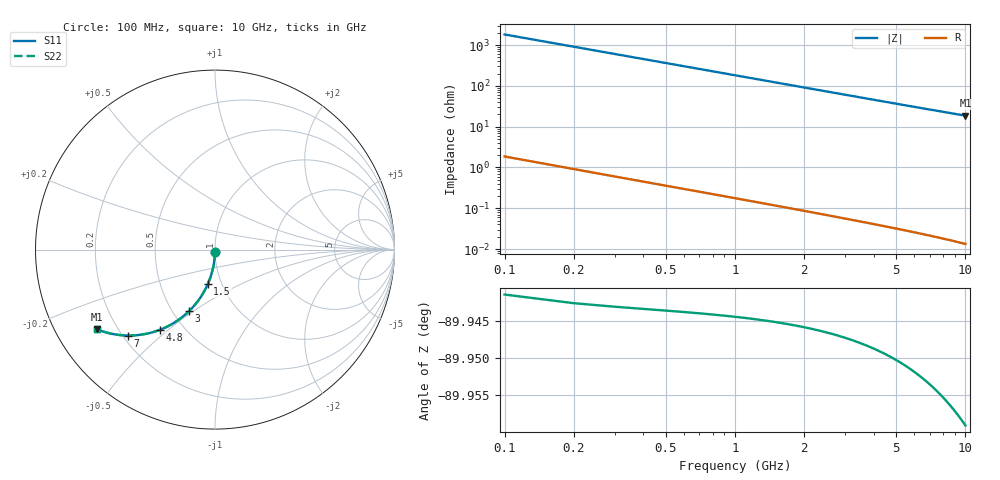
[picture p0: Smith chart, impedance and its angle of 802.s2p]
# Hz S RI R 50.00
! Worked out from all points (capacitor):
!   100 points, 100 MHz to 10 GHz, reference 50 ohm
!   read as one part in shunt: C = 874 fF near 100 MHz
!   lowest |Z| = 18.7 ohm at 10 GHz (marker M1)
!   S11 on the Smith chart (normalised r, x): 100 MHz: 1.00, -0.03; 1.5 GHz: 0.86, -0.34; 3 GHz: 0.60, -0.48; 4.8 GHz: 0.37, -0.47; 7 GHz: 0.22, -0.39; 10 GHz: 0.13, -0.30
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1e8  2.01e-05 -0.0134  0.9996 -0.014  0.9996 -0.014  2.01e-05 -0.0134
2e8  -0.000557 -0.0269  0.999 -0.028  0.999 -0.028  -0.000557 -0.0269
3e8  -0.00151 -0.0403  0.998 -0.042  0.998 -0.042  -0.00151 -0.0403
4e8  -0.00284 -0.0536  0.9967 -0.0559  0.9967 -0.0559  -0.00284 -0.0536
5e8  -0.00453 -0.0669  0.995 -0.0698  0.995 -0.0698  -0.00453 -0.0669
6e8  -0.00659 -0.0801  0.9929 -0.0836  0.9929 -0.0836  -0.00659 -0.0801
7e8  -0.00902 -0.0932  0.9905 -0.0973  0.9905 -0.0973  -0.00902 -0.0932
9e8  -0.0149 -0.1191  0.9846 -0.1243  0.9846 -0.1243  -0.0149 -0.1191
1.2e9  -0.0264 -0.1569  0.9732 -0.1639  0.9732 -0.1639  -0.0264 -0.1569
1.5e9  -0.0407 -0.1932  0.9588 -0.202  0.9588 -0.202  -0.0407 -0.1932
1.8e9  -0.0576 -0.2277  0.9419 -0.2382  0.9419 -0.2382  -0.0576 -0.2277
2.4e9  -0.0981 -0.2904  0.9013 -0.3043  0.9013 -0.3043  -0.0981 -0.2904
3e9  -0.1454 -0.3436  0.854 -0.3611  0.854 -0.3611  -0.1454 -0.3436
3.4e9  -0.1795 -0.3736  0.8199 -0.3934  0.8199 -0.3934  -0.1795 -0.3736
4.1e9  -0.2416 -0.4158  0.7577 -0.4397  0.7577 -0.4397  -0.2416 -0.4158
4.8e9  -0.3042 -0.4457  0.6949 -0.4738  0.6949 -0.4738  -0.3042 -0.4457
5.1e9  -0.3307 -0.4552  0.6684 -0.485  0.6684 -0.485  -0.3307 -0.4552
5.9e9  -0.3986 -0.4719  0.6003 -0.5064  0.6003 -0.5064  -0.3986 -0.4719
6.7e9  -0.4614 -0.4784  0.5373 -0.5177  0.5373 -0.5177  -0.4614 -0.4784
7e9  -0.4835 -0.4787  0.5151 -0.5197  0.5151 -0.5197  -0.4835 -0.4787
8.4e9  -0.5754 -0.4689  0.4228 -0.5183  0.4228 -0.5183  -0.5754 -0.4689
1e10  -0.6592 -0.4434  0.3385 -0.5026  0.3385 -0.5026  -0.6592 -0.4434
